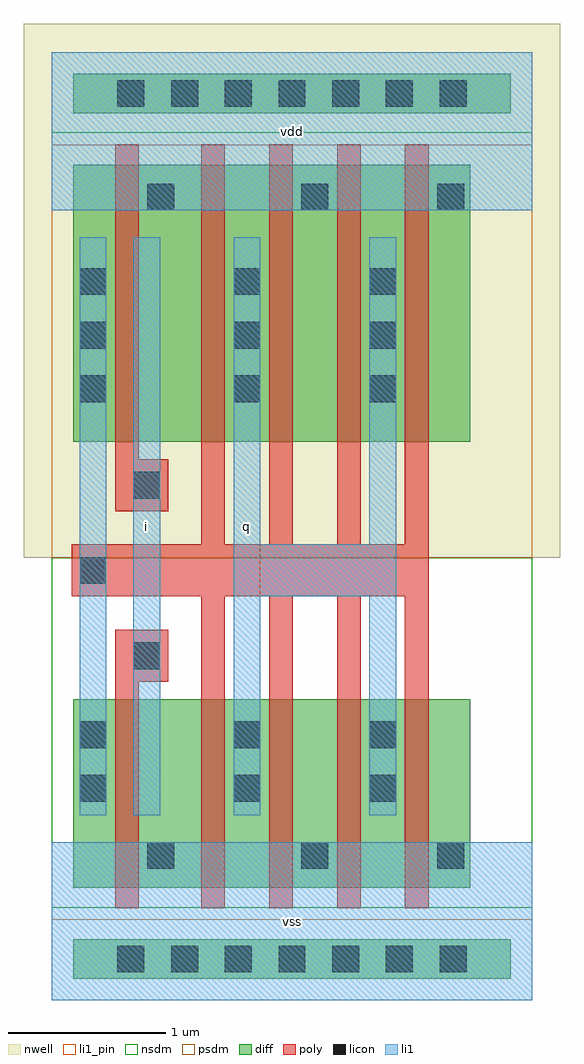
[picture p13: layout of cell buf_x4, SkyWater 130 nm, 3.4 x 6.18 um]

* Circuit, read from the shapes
.subckt buf_x4 i q vdd vss
XM1 vss i n1 VSUBS sky130_fd_pr__nfet_01v8 w=1.195 l=0.15
XM2 q n1 vss VSUBS sky130_fd_pr__nfet_01v8 w=1.195 l=0.15 m=4
XM3 vdd i n1 n2 sky130_fd_pr__pfet_01v8 w=1.755 l=0.15
XM4 q n1 vdd n2 sky130_fd_pr__pfet_01v8 w=1.755 l=0.15 m=4
.ends

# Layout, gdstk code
import gdstk
lib = gdstk.Library(unit=1e-6, precision=1e-09)
def R(c, l, rs):  # rectangles x0, y0, x1, y1
    for r in rs: c.add(gdstk.rectangle(r[:2], r[2:], *l))
def A(c, l, x, y, w, h, nx, ny, dx, dy):  # array of equal rectangles
    R(c, l, [(x+i*dx, y+j*dy, x+i*dx+w, y+j*dy+h) for i in range(nx) for j in range(ny)])
def P(c, l, *ps):  # polygons
    for p in ps: c.add(gdstk.Polygon(p, *l))
nwell = (64, 20)
diff = (65, 20)
poly = (66, 20)
licon = (66, 44)
li1_pin = (67, 16)
li1 = (67, 20)
nsdm = (93, 44)
psdm = (94, 20)

buf_x4 = lib.new_cell('buf_x4')
R(buf_x4, nwell, [(-0.18,2.8,3.22,6.18)])
R(buf_x4, diff, [(0.135,0.135,2.905,0.385), (0.135,0.71,2.65,1.905), (0.135,3.535,2.65,5.29), (0.135,5.615,2.905,5.865)])
P(buf_x4, poly, [(0.945,0.58),(0.945,2.555),(0.125,2.555),(0.125,2.885),(0.945,2.885),(0.945,5.42),(1.095,5.42),(1.095,2.885),(1.375,2.885),(1.375,5.42),(1.525,5.42),(1.525,2.885),(1.805,2.885),(1.805,5.42),(1.955,5.42),(1.955,2.885),(2.235,2.885),(2.235,5.42),(2.385,5.42),(2.385,0.58),(2.235,0.58),(2.235,2.555),(1.955,2.555),(1.955,0.58),(1.805,0.58),(1.805,2.555),(1.525,2.555),(1.525,0.58),(1.375,0.58),(1.375,2.555),(1.095,2.555),(1.095,0.58)],
  [(0.4,0.58),(0.4,2.345),(0.735,2.345),(0.735,2.015),(0.55,2.015),(0.55,0.58)],
  [(0.4,3.095),(0.4,5.42),(0.55,5.42),(0.55,3.425),(0.735,3.425),(0.735,3.095)])
A(buf_x4, licon, 0.415, 0.175, 0.17, 0.17, 7, 2, 0.34, 5.48)
A(buf_x4, licon, 0.175, 3.785, 0.17, 0.17, 1, 3, 0, 0.34)
A(buf_x4, licon, 1.15, 3.785, 0.17, 0.17, 1, 3, 0, 0.34)
A(buf_x4, licon, 2.01, 3.785, 0.17, 0.17, 1, 3, 0, 0.34)
R(buf_x4, licon, [(0.605,0.83,0.775,1), (1.58,0.83,1.75,1), (2.44,0.83,2.61,1), (0.175,1.255,0.345,1.425), (1.15,1.255,1.32,1.425), (2.01,1.255,2.18,1.425), (0.175,1.595,0.345,1.765), (1.15,1.595,1.32,1.765), (2.01,1.595,2.18,1.765), (0.515,2.095,0.685,2.265), (0.175,2.635,0.345,2.805), (0.515,3.175,0.685,3.345), (0.605,5,0.775,5.17), (1.58,5,1.75,5.17), (2.44,5,2.61,5.17)])
R(buf_x4, li1_pin, [(0,0,3.04,1), (0.515,1.17,0.685,4.83), (1.15,1.17,1.32,4.83), (0,5,3.04,6)])
R(buf_x4, li1, [(0,0,3.04,1), (0.175,1.17,0.345,4.83), (0.515,1.17,0.685,4.83), (0,5,3.04,6)])
P(buf_x4, li1, [(1.15,1.17),(1.15,4.83),(1.32,4.83),(1.32,2.885),(2.01,2.885),(2.01,4.83),(2.18,4.83),(2.18,1.17),(2.01,1.17),(2.01,2.555),(1.32,2.555),(1.32,1.17)])
R(buf_x4, nsdm, [(0,0.585,3.04,2.8), (0,5.49,3.04,6)])
R(buf_x4, psdm, [(0,0,3.04,0.51), (0,2.8,3.04,5.415)])
buf_x4.add(gdstk.Label('vdd', (1.52,5.5), layer=67, texttype=16))
buf_x4.add(gdstk.Label('vss', (1.52,0.5), layer=67, texttype=16))
buf_x4.add(gdstk.Label('i', (0.6,3), layer=67, texttype=16))
buf_x4.add(gdstk.Label('q', (1.235,3), layer=67, texttype=16))

lib.write_gds('buf_x4.gds')
